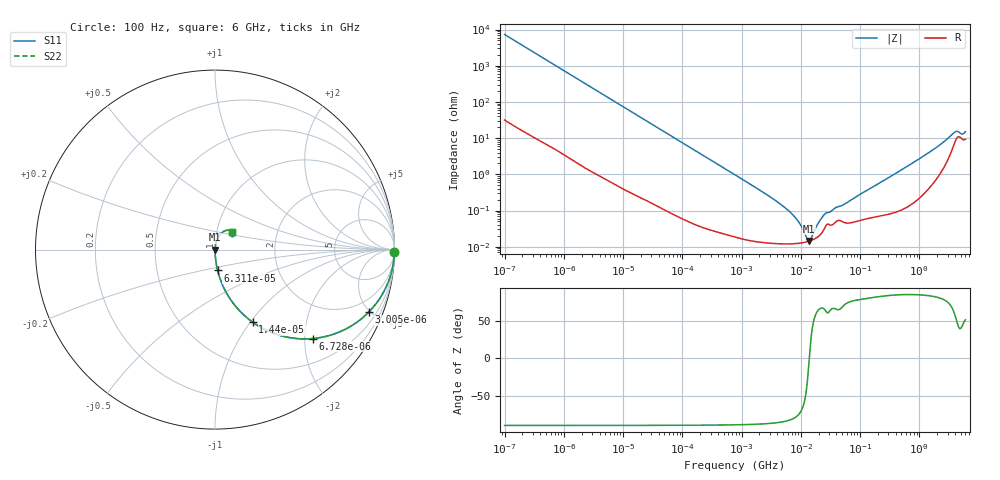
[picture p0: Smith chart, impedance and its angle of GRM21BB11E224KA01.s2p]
!Murata Part Number: GRM21BB11E224KA01
!These Parameters are Measured in Series Mode Connection
!Data Generated on Mar 30, 2021
!  o--ll--o
!Port1  Port2
!  o------o
!Operation Temp=25[degC], DC Bias Voltage=0[V]
!Freq. Start=100[Hz] Stop=6[GHz] 401[Steps]
# Hz S RI R 50
!Freq.(Hz) S11(Real) S11(Imag) S21(Real) S21(Imag) S12(Real) S12(Imag) S22(Real) S22(Imag)
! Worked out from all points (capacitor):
!   401 points, 100 Hz to 6 GHz, reference 50 ohm
!   read as one part in series: C = 218 nF near 109 Hz
!   lowest |Z| = 14.3 mohm at 13.6 MHz (marker M1)
!   series resonance near 13.89 MHz, so ESL is about 600 pH
!   S11 on the Smith chart (normalised r, x): 100 Hz: open; 3.005 kHz: 1.02, -4.90; 6.728 kHz: 1.01, -2.19; 14.4 kHz: 1.01, -1.03; 63.12 kHz: 1.00, -0.24; 6 GHz: 1.19, +0.24
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100  0.9998 -0.0137  0.000247 0.0137  0.000247 0.0137  0.9998 -0.0137
600  0.993 -0.0812  0.00703 0.0812  0.00703 0.0812  0.993 -0.0812
2008  0.9296 -0.2536  0.0704 0.2536  0.0704 0.2536  0.9296 -0.2536
3005  0.856 -0.3488  0.144 0.3488  0.144 0.3488  0.856 -0.3488
6728  0.5458 -0.4954  0.4542 0.4954  0.4542 0.4954  0.5458 -0.4954
14402  0.21 -0.4045  0.79 0.4045  0.79 0.4045  0.21 -0.4045
22537  0.099 -0.2956  0.901 0.2956  0.901 0.2956  0.099 -0.2956
40335  0.0339 -0.1776  0.9661 0.1776  0.9661 0.1776  0.0339 -0.1776
63115  0.0145 -0.1161  0.9855 0.1161  0.9855 0.1161  0.0145 -0.1161
774597  0.000278 -0.00968  0.9997 0.00968  0.9997 0.00968  0.000278 -0.00968
3103719  0.00013 -0.00232  0.9999 0.00232  0.9999 0.00232  0.00013 -0.00232
6075234  0.000121 -0.00101  0.9999 0.00101  0.9999 0.00101  0.000121 -0.00101
9090158  0.000124 -0.000481  0.9999 0.000481  0.9999 0.000481  0.000124 -0.000481
1.243624e7  0.000136 -0.000122  0.9999 0.000122  0.9999 0.000122  0.000136 -0.000122
1.360128e7  0.000141 -2.3e-05  0.9999 2.3e-05  0.9999 2.3e-05  0.000141 -2.3e-05
1.555665e7  0.000153 0.000127  0.9998 -0.000127  0.9998 -0.000127  0.000153 0.000127
1.946e7  0.000188 0.00039  0.9998 -0.00039  0.9998 -0.00039  0.000188 0.00039
2.545746e7  0.000335 0.000732  0.9997 -0.000732  0.9997 -0.000732  0.000335 0.000732
3.124326e8  0.000866 0.00828  0.9991 -0.00828  0.9991 -0.00828  0.000866 0.00828
1.565993e9  0.00647 0.0426  0.9935 -0.0426  0.9935 -0.0426  0.00647 0.0426
3.8344e9  0.0735 0.1082  0.9265 -0.1082  0.9265 -0.1082  0.0735 0.1082
6e9  0.0957 0.098  0.9043 -0.098  0.9043 -0.098  0.0957 0.098
